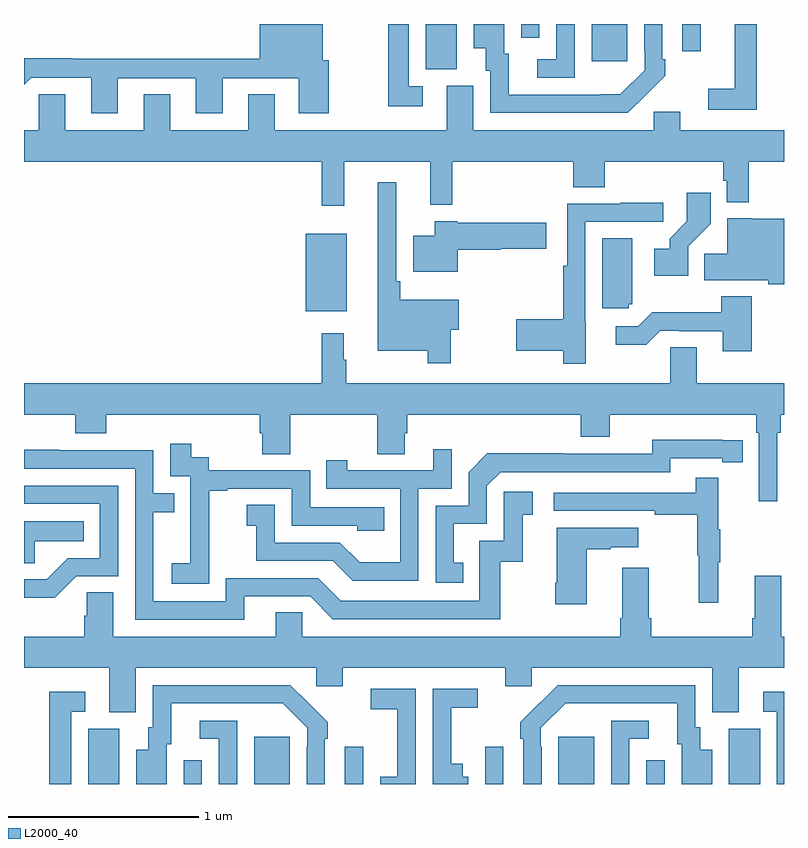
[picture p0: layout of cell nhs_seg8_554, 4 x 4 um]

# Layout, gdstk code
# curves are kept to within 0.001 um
import gdstk
lib = gdstk.Library(unit=1e-6, precision=1e-09)
def R(c, l, rs):  # rectangles x0, y0, x1, y1
    for r in rs: c.add(gdstk.rectangle(r[:2], r[2:], *l))
def P(c, l, *ps):  # polygons
    for p in ps: c.add(gdstk.Polygon(p, *l))
L2000_40 = (2000, 40)

nhs_seg8_554 = lib.new_cell('nhs_seg8_554')
R(nhs_seg8_554, L2000_40, [(147.338,1103.9,147.502,1104.192), (147.84,1103.9,147.936,1104.025), (148.211,1103.9,148.399,1104.148), (148.689,1103.9,148.785,1104.097), (149.427,1103.9,149.523,1104.097), (149.813,1103.9,150.001,1104.148), (150.276,1103.9,150.372,1104.025), (150.71,1103.9,150.874,1104.192), (148.484,1106.387,148.699,1106.797), (149.114,1107.661,149.278,1107.9), (149.987,1107.705,150.175,1107.9), (150.465,1107.756,150.561,1107.9), (149.616,1107.828,149.712,1107.9)])
P(nhs_seg8_554, L2000_40, [(149.098,1107.573),(149.025,1107.573),(149.025,1107.9),(148.917,1107.9),(148.917,1107.468),(149.098,1107.468)],
  [(147.493,1107.615),(147.905,1107.615),(147.905,1107.429),(148.045,1107.429),(148.045,1107.615),(148.445,1107.615),(148.445,1107.429),(148.605,1107.429),(148.605,1107.708),(148.573,1107.708),(148.573,1107.9),(148.241,1107.9),(148.241,1107.716),(147.257,1107.716),(147.257,1107.719),(147.002,1107.719),(147,1107.717),(147,1107.579),(147.039,1107.618),(147.353,1107.618),(147.353,1107.429),(147.493,1107.429)],
  [(149.898,1107.9),(149.802,1107.9),(149.802,1107.714),(149.7,1107.714),(149.7,1107.618),(149.898,1107.618)],
  [(150.269,1107.523),(150.27,1107.522),(150.375,1107.627),(150.375,1107.715),(150.36,1107.715),(150.36,1107.9),(150.264,1107.9),(150.264,1107.757),(150.267,1107.757),(150.267,1107.657),(150.139,1107.529),(150.035,1107.528),(149.551,1107.528),(149.551,1107.744),(149.527,1107.744),(149.527,1107.9),(149.366,1107.9),(149.366,1107.773),(149.429,1107.773),(149.429,1107.654),(149.454,1107.654),(149.454,1107.432),(150.178,1107.432)],
  [(150.857,1107.9),(150.74,1107.9),(150.74,1107.559),(150.6,1107.559),(150.6,1107.45),(150.857,1107.45)],
  [(148.685,1107.176),(149.138,1107.176),(149.138,1106.948),(149.255,1106.948),(149.255,1107.176),(149.891,1107.176),(149.891,1107.04),(150.056,1107.04),(150.056,1107.176),(150.679,1107.176),(150.679,1107.075),(150.699,1107.075),(150.699,1106.963),(150.815,1106.963),(150.815,1107.176),(151,1107.176),(151,1107.34),(150.454,1107.34),(150.454,1107.438),(150.315,1107.438),(150.315,1107.34),(149.365,1107.34),(149.365,1107.576),(149.225,1107.576),(149.225,1107.34),(148.321,1107.34),(148.321,1107.53),(148.181,1107.53),(148.181,1107.34),(147.769,1107.34),(147.769,1107.53),(147.629,1107.53),(147.629,1107.34),(147.217,1107.34),(147.217,1107.53),(147.078,1107.53),(147.078,1107.34),(147,1107.34),(147,1107.176),(148.567,1107.176),(148.567,1106.943),(148.685,1106.943)],
  [(149.245,1106.291),(149.287,1106.291),(149.287,1106.449),(148.979,1106.449),(148.979,1106.545),(148.959,1106.545),(148.959,1107.067),(148.862,1107.067),(148.862,1106.18),(149.124,1106.18),(149.124,1106.115),(149.245,1106.115)],
  [(150.495,1106.731),(150.614,1106.85),(150.614,1107.013),(150.489,1107.013),(150.489,1106.861),(150.398,1106.771),(150.398,1106.716),(150.318,1106.716),(150.318,1106.576),(150.495,1106.576)],
  [(149.956,1106.334),(149.955,1106.334),(149.955,1106.859),(150.364,1106.859),(150.364,1106.958),(150.139,1106.958),(150.139,1106.955),(149.859,1106.955),(149.859,1106.627),(149.839,1106.627),(149.839,1106.346),(149.592,1106.346),(149.592,1106.18),(149.839,1106.18),(149.839,1106.112),(149.956,1106.112)],
  [(151,1106.875),(150.834,1106.875),(150.834,1106.878),(150.701,1106.878),(150.701,1106.69),(150.58,1106.69),(150.58,1106.552),(150.918,1106.552),(150.918,1106.531),(151,1106.531)],
  [(149.284,1106.711),(149.508,1106.711),(149.508,1106.716),(149.749,1106.716),(149.749,1106.853),(149.28,1106.853),(149.28,1106.863),(149.162,1106.863),(149.162,1106.785),(149.048,1106.785),(149.048,1106.597),(149.284,1106.597)],
  [(150.183,1106.424),(150.202,1106.424),(150.202,1106.773),(150.044,1106.773),(150.044,1106.403),(150.183,1106.403)],
  [(150.83,1106.467),(150.67,1106.467),(150.67,1106.383),(150.307,1106.383),(150.234,1106.31),(150.114,1106.31),(150.114,1106.213),(150.275,1106.213),(150.348,1106.286),(150.448,1106.286),(150.448,1106.283),(150.677,1106.283),(150.677,1106.178),(150.83,1106.178)],
  [(150.964,1105.748),(150.983,1105.748),(150.983,1105.844),(151,1105.844),(151,1106.008),(150.541,1106.008),(150.541,1106.198),(150.402,1106.198),(150.402,1106.008),(148.696,1106.008),(148.696,1106.132),(148.684,1106.132),(148.684,1106.272),(148.567,1106.272),(148.567,1106.008),(147,1106.008),(147,1105.844),(147.269,1105.844),(147.269,1105.745),(147.434,1105.745),(147.434,1105.844),(148.241,1105.844),(148.241,1105.746),(148.253,1105.746),(148.253,1105.636),(148.401,1105.636),(148.401,1105.844),(148.858,1105.844),(148.858,1105.636),(149.005,1105.636),(149.005,1105.746),(149.018,1105.746),(149.018,1105.844),(149.93,1105.844),(149.93,1105.727),(150.082,1105.727),(150.082,1105.844),(150.854,1105.844),(150.854,1105.748),(150.867,1105.748),(150.867,1105.389),(150.964,1105.389)],
  [(149.312,1105.065),(149.263,1105.065),(149.263,1105.269),(149.436,1105.269),(149.436,1105.47),(149.508,1105.542),(150.402,1105.542),(150.402,1105.614),(150.674,1105.614),(150.674,1105.594),(150.782,1105.594),(150.782,1105.71),(150.306,1105.711),(150.306,1105.638),(149.846,1105.638),(149.846,1105.64),(149.438,1105.64),(149.34,1105.542),(149.34,1105.365),(149.166,1105.365),(149.166,1104.96),(149.312,1104.96)],
  [(147.975,1105.159),(147.974,1105.159),(147.974,1105.443),(148.069,1105.443),(148.069,1105.455),(148.41,1105.455),(148.41,1105.26),(148.755,1105.26),(148.755,1105.233),(148.895,1105.233),(148.895,1105.356),(148.506,1105.356),(148.506,1105.551),(147.972,1105.551),(147.972,1105.62),(147.88,1105.62),(147.88,1105.69),(147.771,1105.69),(147.771,1105.521),(147.876,1105.521),(147.876,1105.292),(147.875,1105.292),(147.875,1105.063),(147.777,1105.063),(147.777,1104.953),(147.975,1104.953)],
  [(149.076,1105.455),(149.25,1105.455),(149.25,1105.663),(149.153,1105.663),(149.153,1105.551),(148.702,1105.551),(148.702,1105.603),(148.591,1105.603),(148.591,1105.455),(148.98,1105.455),(148.98,1105.066),(148.766,1105.066),(148.662,1105.17),(148.32,1105.17),(148.32,1105.369),(148.173,1105.369),(148.173,1105.259),(148.222,1105.259),(148.222,1105.074),(148.625,1105.074),(148.73,1104.969),(149.076,1104.969)],
  [(148.159,1104.888),(148.506,1104.888),(148.626,1104.768),(149.506,1104.768),(149.506,1105.071),(149.624,1105.071),(149.624,1105.317),(149.677,1105.317),(149.677,1105.438),(149.526,1105.438),(149.526,1105.179),(149.397,1105.179),(149.397,1104.864),(148.668,1104.864),(148.548,1104.984),(148.062,1104.984),(148.062,1104.861),(147.681,1104.861),(147.681,1105.33),(147.791,1105.33),(147.791,1105.431),(147.681,1105.431),(147.681,1105.656),(147.185,1105.656),(147.185,1105.658),(147,1105.658),(147,1105.56),(147.585,1105.56),(147.585,1104.765),(148.159,1104.765)],
  [(150.653,1105.067),(150.664,1105.067),(150.664,1105.241),(150.653,1105.241),(150.653,1105.513),(150.535,1105.513),(150.535,1105.434),(149.787,1105.434),(149.787,1105.338),(150.319,1105.338),(150.319,1105.318),(150.543,1105.318),(150.543,1105.104),(150.55,1105.104),(150.55,1104.855),(150.653,1104.855)],
  [(147.276,1104.993),(147.495,1104.993),(147.495,1105.47),(147,1105.47),(147,1105.374),(147.399,1105.374),(147.399,1105.089),(147.23,1105.089),(147.119,1104.978),(147,1104.978),(147,1104.881),(147.163,1104.881)],
  [(147.057,1105.178),(147.314,1105.178),(147.314,1105.282),(147,1105.282),(147,1105.063),(147.057,1105.063)],
  [(149.962,1105.135),(150.089,1105.135),(150.089,1105.145),(150.232,1105.145),(150.232,1105.249),(149.804,1105.249),(149.804,1104.958),(149.797,1104.958),(149.797,1104.846),(149.962,1104.846)],
  [(147.589,1104.512),(148.539,1104.512),(148.539,1104.414),(148.678,1104.414),(148.678,1104.512),(149.534,1104.512),(149.534,1104.414),(149.673,1104.414),(149.673,1104.512),(150.623,1104.512),(150.623,1104.277),(150.763,1104.277),(150.763,1104.512),(151,1104.512),(151,1104.676),(150.985,1104.676),(150.985,1104.997),(150.845,1104.997),(150.845,1104.772),(150.833,1104.772),(150.833,1104.676),(150.302,1104.676),(150.302,1104.772),(150.289,1104.772),(150.289,1105.039),(150.149,1105.039),(150.149,1104.772),(150.137,1104.772),(150.137,1104.676),(148.464,1104.676),(148.464,1104.803),(148.325,1104.803),(148.325,1104.676),(147.469,1104.676),(147.469,1104.908),(147.33,1104.908),(147.33,1104.785),(147.317,1104.785),(147.317,1104.676),(147,1104.676),(147,1104.512),(147.449,1104.512),(147.449,1104.277),(147.589,1104.277)],
  [(147.751,1104.108),(147.775,1104.108),(147.775,1104.324),(148.363,1104.324),(148.491,1104.195),(148.491,1104.095),(148.488,1104.095),(148.488,1103.9),(148.584,1103.9),(148.584,1104.137),(148.599,1104.137),(148.599,1104.225),(148.402,1104.42),(147.678,1104.42),(147.678,1104.198),(147.653,1104.198),(147.653,1104.079),(147.59,1104.079),(147.59,1103.9),(147.751,1103.9)],
  [(149.724,1104.095),(149.721,1104.095),(149.721,1104.195),(149.85,1104.324),(150.437,1104.324),(150.437,1104.108),(150.461,1104.108),(150.461,1103.9),(150.622,1103.9),(150.622,1104.079),(150.559,1104.079),(150.559,1104.198),(150.534,1104.198),(150.534,1104.42),(149.81,1104.42),(149.613,1104.225),(149.613,1104.137),(149.628,1104.137),(149.628,1103.9),(149.724,1103.9)],
  [(149.338,1103.938),(149.308,1103.938),(149.308,1104.007),(149.249,1104.007),(149.249,1104.301),(149.389,1104.301),(149.389,1104.402),(149.151,1104.402),(149.151,1103.903),(149.15,1103.903),(149.15,1103.9),(149.338,1103.9)],
  [(149.061,1104.402),(148.824,1104.402),(148.824,1104.294),(148.964,1104.294),(148.964,1103.938),(148.874,1103.938),(148.874,1103.9),(149.061,1103.9)],
  [(147.249,1104.279),(147.322,1104.279),(147.322,1104.385),(147.133,1104.385),(147.133,1103.9),(147.249,1103.9)],
  [(151,1104.385),(150.891,1104.385),(150.891,1104.279),(150.963,1104.279),(150.963,1103.9),(151,1103.9)],
  [(148.122,1104.234),(147.924,1104.234),(147.924,1104.138),(148.026,1104.138),(148.026,1103.9),(148.122,1103.9)],
  [(150.186,1104.138),(150.289,1104.138),(150.289,1104.234),(150.09,1104.234),(150.09,1103.9),(150.186,1103.9)])

lib.write_gds('nhs_seg8_554.gds')
